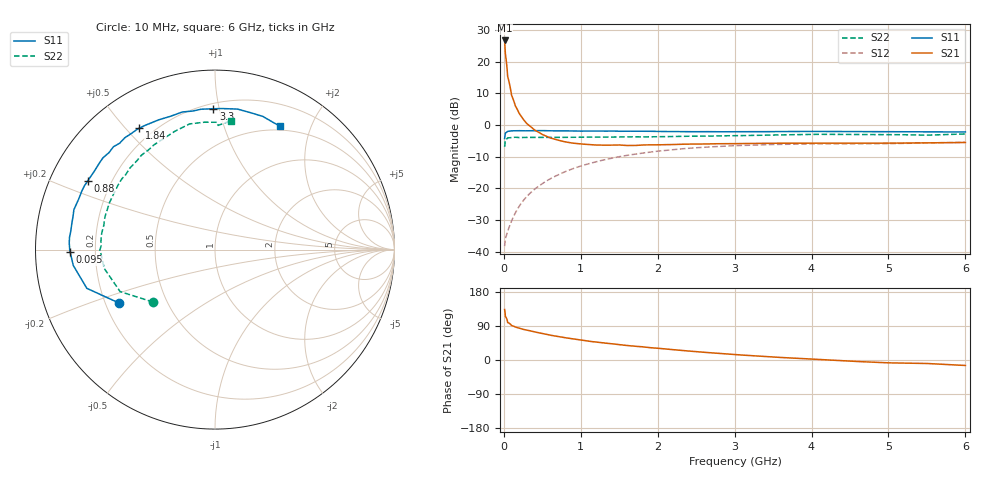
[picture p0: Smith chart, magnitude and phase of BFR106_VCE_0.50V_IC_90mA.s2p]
! Infineon Technologies  Discrete & RF Semiconductors
! BFR106
! VCE = 0.50 V,  IC =  90 mA
! Common Emitter S-Parameters:  Nov 2015
# GHz  S  MA  R  50
!  f  S11  S21  S12  S22
! GHz  MAG  ANG  MAG  ANG  MAG  ANG  MAG  ANG
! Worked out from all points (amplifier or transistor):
!   210 points, 10 MHz to 6 GHz, reference 50 ohm
!   highest |S21| = 26.7 dB at 10 MHz (marker M1)
!   |S21| within 3 dB of that: start of sweep to 17.37 MHz
!   unconditionally stable (mu >= 1): start of sweep to 18.28 MHz; 25.37 MHz to end of sweep
!   at 185 MHz: K = 1.75, MAG = 10.3 dB, |S12| = -26.2 dB
!   at 1.52 GHz: K = 1.27, MAG = -1.4 dB, |S12| = -9.9 dB
!   at 6 GHz: K = 1.03, MAG = -1.2 dB, |S12| = -5.5 dB
!   S11 on the Smith chart (normalised r, x): 10 MHz: 0.26, -0.24; 95 MHz: 0.11, -0.01; 880 MHz: 0.11, +0.25; 1.84 GHz: 0.15, +0.54; 3.3 GHz: 0.24, +0.96; 6 GHz: 0.45, +1.57
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0.01  0.6129 -151.0  21.66 133.3  0.0122 45.1  0.4519 -139.7
0.02  0.7461 -163.2  13.4 114.9  0.016 37.1  0.578 -156.1
0.035  0.7671 -168.6  9.539 110.1  0.0184 41.2  0.5974 -163.5
0.05  0.7944 -173.6  5.837 98.9  0.0209 44.4  0.6261 -170.4
0.095  0.8073 -179.0  3.25 92.5  0.0295 56.0  0.6331 -176.7
0.1  0.8092 -179.6  2.967 91.1  0.0305 56.9  0.6343 -177.4
0.15  0.813 177.3  2.003 86.9  0.0409 62.6  0.6416 -179.8
0.2  0.8134 175.1  1.526 83.8  0.0522 66.2  0.6341 177.9
0.26  0.8101 172.6  1.199 80.5  0.0657 67.8  0.6371 175.8
0.3  0.8106 170.8  1.05 78.7  0.0747 68.5  0.6376 174.8
0.4  0.8117 167.2  0.833 74.0  0.0968 68.7  0.6377 172.2
0.5  0.817 164.2  0.71 69.9  0.1185 68.0  0.636 169.7
0.62  0.81 159.6  0.617 64.9  0.145 66.2  0.6345 167.1
0.88  0.8056 151.5  0.522 56.2  0.2007 61.4  0.6394 160.9
1.02  0.802 146.4  0.499 52.2  0.2291 58.7  0.6418 158.0
1.84  0.7972 122.1  0.485 34.0  0.3653 40.7  0.65 139.7
2.02  0.7912 117.6  0.487 30.6  0.3884 36.9  0.6565 135.9
3.1  0.7849 94.0  0.509 13.0  0.4753 17.0  0.6809 115.1
3.3  0.7845 90.7  0.512 10.4  0.4834 14.0  0.6874 111.9
4.1  0.7913 79.7  0.517 1.4  0.5031 3.2  0.7131 100.2
5.1  0.7862 69.3  0.518 -7.8  0.5107 -6.7  0.7061 89.0
6  0.7781 62.1  0.53 -14.4  0.5338 -14.1  0.7231 83.1
